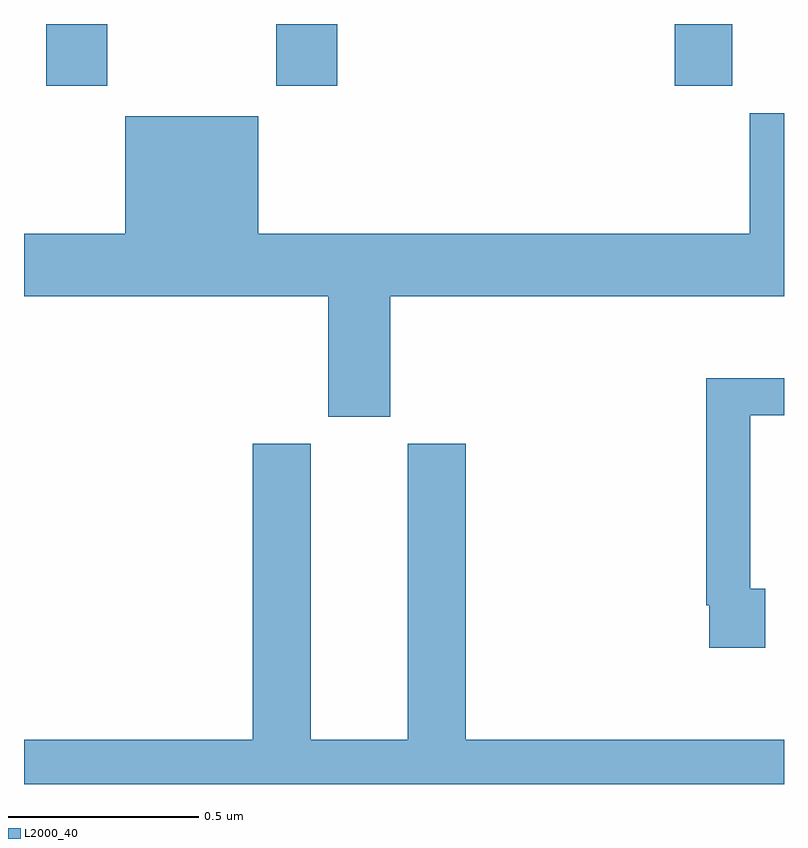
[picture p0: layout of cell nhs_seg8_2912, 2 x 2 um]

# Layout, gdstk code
import gdstk
lib = gdstk.Library(unit=1e-6, precision=1e-09)
def R(c, l, rs):  # rectangles x0, y0, x1, y1
    for r in rs: c.add(gdstk.rectangle(r[:2], r[2:], *l))
def P(c, l, *ps):  # polygons
    for p in ps: c.add(gdstk.Polygon(p, *l))
L2000_40 = (2000, 40)

nhs_seg8_2912 = lib.new_cell('nhs_seg8_2912')
R(nhs_seg8_2912, L2000_40, [(150.059,1099.737,150.219,1099.9), (150.664,1099.737,150.824,1099.9), (151.712,1099.737,151.864,1099.9)])
P(nhs_seg8_2912, L2000_40, [(150.964,1099.184),(152,1099.184),(152,1099.665),(151.91,1099.665),(151.91,1099.348),(150.616,1099.348),(150.616,1099.657),(150.266,1099.657),(150.266,1099.348),(150,1099.348),(150,1099.184),(150.8,1099.184),(150.8,1098.867),(150.964,1098.867)],
  [(151.951,1098.414),(151.911,1098.414),(151.911,1098.87),(152,1098.87),(152,1098.968),(151.795,1098.968),(151.795,1098.37),(151.803,1098.37),(151.803,1098.258),(151.951,1098.258)],
  [(151.01,1098.795),(151.01,1098.016),(150.754,1098.016),(150.754,1098.795),(150.602,1098.795),(150.602,1098.016),(150,1098.016),(150,1097.9),(152,1097.9),(152,1098.016),(151.163,1098.016),(151.163,1098.795)])

lib.write_gds('nhs_seg8_2912.gds')
